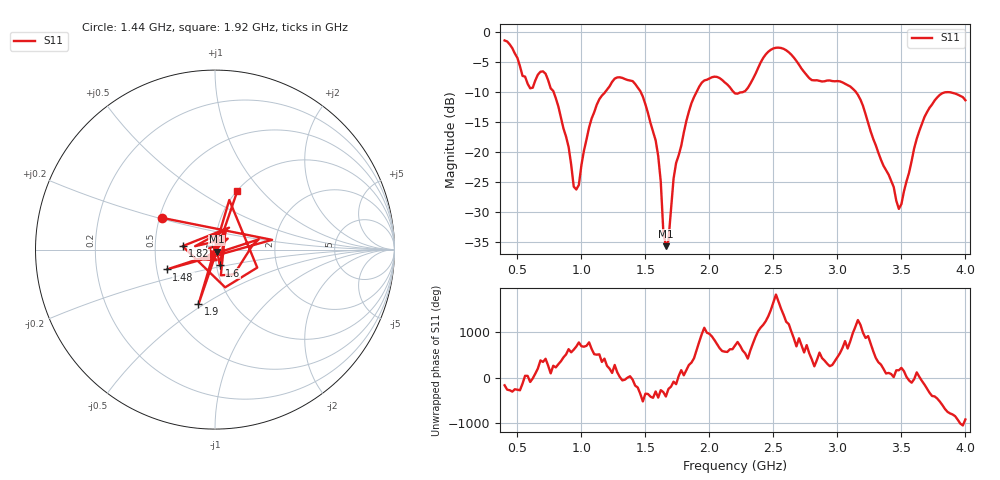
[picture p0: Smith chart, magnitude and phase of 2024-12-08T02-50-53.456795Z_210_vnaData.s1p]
!Created with skrf (http://scikit-rf.org).
# Hz S RI R 50.0
!freq ReS11 ImS11
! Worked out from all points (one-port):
!   181 points, 400 MHz to 4 GHz, reference 50 ohm
!   lowest |S11| = -35.8 dB at 1.66 GHz (marker M1), VSWR 1.03, Z = 51.1 - j1.25 ohm
!   |S11| at or under -10 dB: 783.2 MHz to 1.185 GHz (402.3 MHz wide, 40.9 % of centre); 1.464 GHz to 1.899 GHz (435.2 MHz wide, 25.9 % of centre); 3.145 GHz to end of sweep (the widest 3 of 4)
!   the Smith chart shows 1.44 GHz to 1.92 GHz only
!   S11 on the Smith chart (normalised r, x): 1.44 GHz: 0.51, +0.21; 1.48 GHz: 0.57, -0.14; 1.6 GHz: 1.04, -0.19; 1.82 GHz: 0.69, +0.03; 1.9 GHz: 0.70, -0.47; 1.92 GHz: 1.00, +0.75
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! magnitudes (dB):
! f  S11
! 400 MHz  -1.4
! 600 MHz  -9.4
! 720 MHz  -6.9
! 860 MHz  -16.1
! 960 MHz  -26.3
! 1.12 GHz  -12.1
! 1.3 GHz  -7.5
! 1.44 GHz  -9.2
! 1.48 GHz  -10.8
! 1.6 GHz  -20.7
! 1.64 GHz  -33.3
! 1.66 GHz  -35.8
! 1.68 GHz  -34.8
! 1.72 GHz  -24.5
! 1.76 GHz  -20.6
! 1.82 GHz  -14.8
! 1.9 GHz  -9.9
! 1.92 GHz  -9.1
! 2.06 GHz  -7.5
! 2.2 GHz  -10.2
! 2.48 GHz  -2.9
! 2.66 GHz  -4.2
! 2.8 GHz  -8.0
! 3.1 GHz  -9.1
! 3.48 GHz  -29.5
! 3.56 GHz  -23.5
! 3.76 GHz  -11.4
! 4 GHz  -11.4
